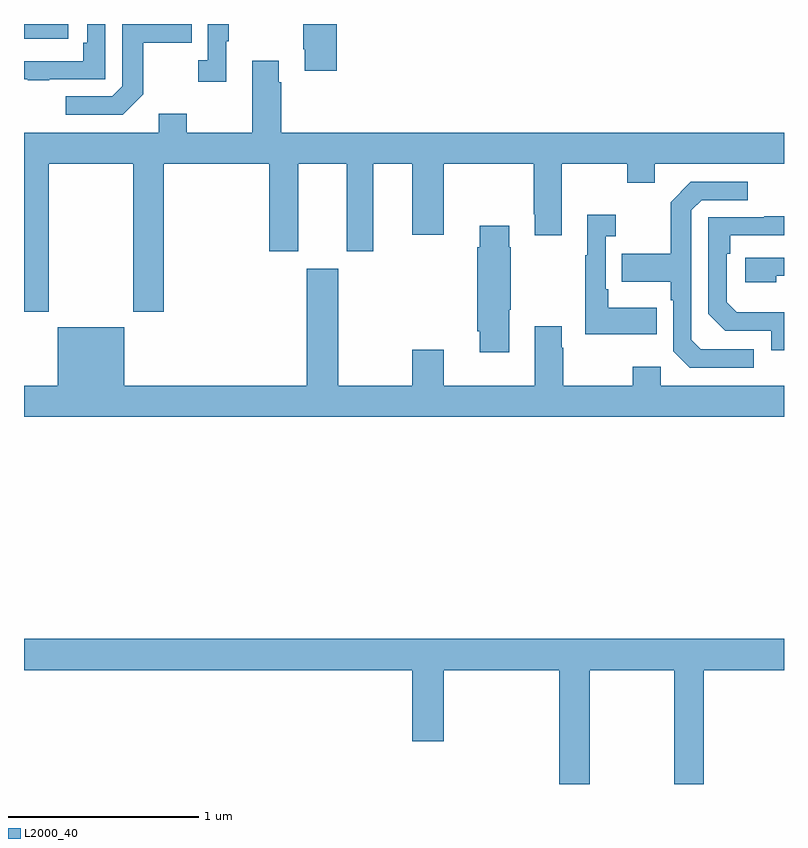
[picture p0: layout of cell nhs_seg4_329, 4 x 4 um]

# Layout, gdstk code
import gdstk
lib = gdstk.Library(unit=1e-6, precision=1e-09)
def R(c, l, rs):  # rectangles x0, y0, x1, y1
    for r in rs: c.add(gdstk.rectangle(r[:2], r[2:], *l))
def P(c, l, *ps):  # polygons
    for p in ps: c.add(gdstk.Polygon(p, *l))
L2000_40 = (2000, 40)

nhs_seg4_329 = lib.new_cell('nhs_seg4_329')
R(nhs_seg4_329, L2000_40, [(127,786.822,127.234,786.9)])
P(nhs_seg4_329, L2000_40, [(128.065,786.809),(128.077,786.809),(128.077,786.9),(127.968,786.9),(127.968,786.71),(127.917,786.71),(127.917,786.597),(128.065,786.597)],
  [(128.645,786.9),(128.47,786.9),(128.47,786.766),(128.477,786.766),(128.477,786.654),(128.645,786.654)],
  [(127.133,786.609),(127.428,786.609),(127.428,786.9),(127.332,786.9),(127.332,786.802),(127.312,786.802),(127.312,786.705),(127,786.705),(127,786.609),(127.021,786.609),(127.021,786.604),(127.133,786.604)],
  [(127.627,786.529),(127.627,786.802),(127.883,786.802),(127.883,786.9),(127.518,786.9),(127.518,786.573),(127.464,786.519),(127.221,786.519),(127.221,786.423),(127.521,786.423)],
  [(127.131,786.164),(127.576,786.164),(127.576,785.385),(127.736,785.385),(127.736,786.164),(128.291,786.164),(128.291,785.703),(128.443,785.703),(128.443,786.164),(128.699,786.164),(128.699,785.703),(128.839,785.703),(128.839,786.164),(129.044,786.164),(129.044,785.79),(129.208,785.79),(129.208,786.164),(129.682,786.164),(129.682,785.899),(129.689,785.899),(129.689,785.787),(129.829,785.787),(129.829,786.164),(130.174,786.164),(130.174,786.065),(130.321,786.065),(130.321,786.164),(131,786.164),(131,786.328),(128.354,786.328),(128.354,786.593),(128.341,786.593),(128.341,786.706),(128.201,786.706),(128.201,786.328),(127.857,786.328),(127.857,786.427),(127.709,786.427),(127.709,786.328),(127,786.328),(127,785.385),(127.131,785.385)],
  [(130.84,785.187),(130.563,785.187),(130.512,785.238),(130.512,785.919),(130.566,785.973),(130.81,785.973),(130.81,786.069),(130.509,786.069),(130.404,785.963),(130.404,785.691),(130.147,785.691),(130.147,785.543),(130.404,785.543),(130.404,785.447),(130.416,785.447),(130.416,785.178),(130.503,785.091),(130.84,785.091)],
  [(130.331,785.407),(130.075,785.407),(130.075,785.503),(130.062,785.503),(130.062,785.783),(130.114,785.783),(130.114,785.896),(129.965,785.896),(129.965,785.683),(129.954,785.683),(129.954,785.267),(130.331,785.267)],
  [(131,785.383),(130.751,785.383),(130.698,785.436),(130.698,785.69),(130.718,785.69),(130.718,785.787),(131,785.787),(131,785.888),(130.897,785.888),(130.897,785.883),(130.602,785.883),(130.602,785.376),(130.692,785.286),(130.932,785.286),(130.932,785.184),(131,785.184)],
  [(129.553,785.395),(129.561,785.395),(129.561,785.726),(129.553,785.726),(129.553,785.839),(129.398,785.839),(129.398,785.726),(129.386,785.726),(129.386,785.284),(129.398,785.284),(129.398,785.172),(129.553,785.172)],
  [(130.958,785.574),(131,785.574),(131,785.67),(130.797,785.67),(130.797,785.54),(130.958,785.54)],
  [(131,784.996),(130.35,784.996),(130.35,785.095),(130.204,785.095),(130.204,784.996),(129.837,784.996),(129.837,785.195),(129.829,785.195),(129.829,785.308),(129.689,785.308),(129.689,784.996),(129.208,784.996),(129.208,785.185),(129.044,785.185),(129.044,784.996),(128.653,784.996),(128.653,785.611),(128.489,785.611),(128.489,784.996),(127.528,784.996),(127.528,785.305),(127.178,785.305),(127.178,784.996),(127,784.996),(127,784.832),(131,784.832)],
  [(129.977,783.5),(130.423,783.5),(130.423,782.9),(130.578,782.9),(130.578,783.5),(131,783.5),(131,783.664),(127,783.664),(127,783.5),(129.044,783.5),(129.044,783.126),(129.208,783.126),(129.208,783.5),(129.818,783.5),(129.818,782.9),(129.977,782.9)])

lib.write_gds('nhs_seg4_329.gds')
